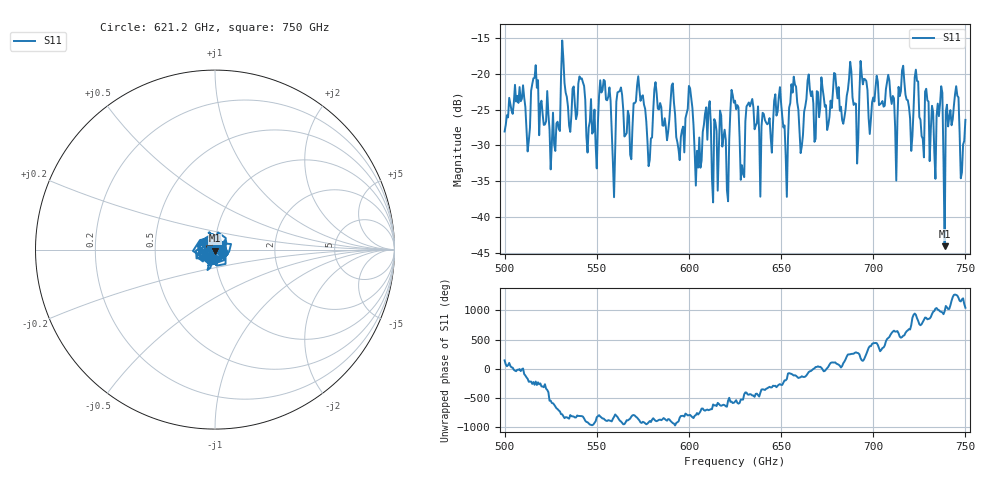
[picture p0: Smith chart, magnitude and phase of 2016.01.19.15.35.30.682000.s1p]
!Created with skrf (http://scikit-rf.org).
# GHz S RI R 50.0
!freq ReS11 ImS11
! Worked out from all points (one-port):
!   401 points, 500 GHz to 750 GHz, reference 50 ohm
!   lowest |S11| = -44.1 dB at 738.8 GHz (marker M1), VSWR 1.01, Z = 49.9 - j0.62 ohm
!   |S11| at or under -10 dB: start of sweep to end of sweep
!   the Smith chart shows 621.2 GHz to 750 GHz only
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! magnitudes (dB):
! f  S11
! 500 GHz  -28.1
! 512.5 GHz  -30.8
! 516.9 GHz  -18.8
! 526.2 GHz  -25.4
! 531.2 GHz  -15.3
! 548.8 GHz  -25.0
! 553.1 GHz  -22.3
! 558.8 GHz  -32.3
! 562.5 GHz  -22.4
! 593.8 GHz  -29.6
! 600.6 GHz  -22.0
! 605 GHz  -33.1
! 610 GHz  -29.2
! 620.6 GHz  -36.3
! 625 GHz  -23.7
! 628.8 GHz  -32.8
! 632.5 GHz  -24.0
! 652.5 GHz  -31.4
! 656.2 GHz  -22.6
! 661.2 GHz  -30.1
! 665.6 GHz  -22.2
! 687.5 GHz  -18.3
! 690.6 GHz  -24.2
! 694.4 GHz  -21.5
! 718.8 GHz  -23.7
! 738.8 GHz  -44.1
! 745 GHz  -21.7
! 750 GHz  -26.4
